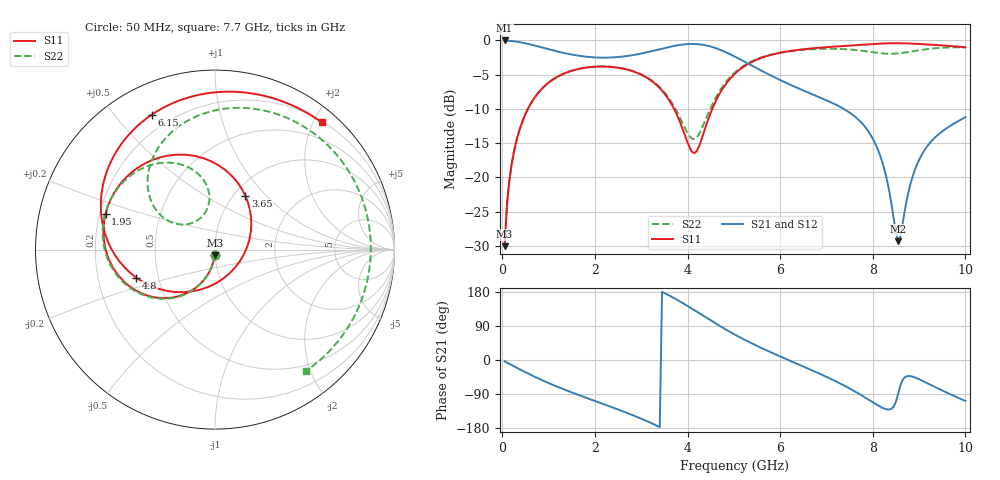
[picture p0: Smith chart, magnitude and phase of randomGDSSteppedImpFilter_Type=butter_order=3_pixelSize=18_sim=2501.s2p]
! freq	dB(S11)	phase(S11)	dB(S12)	phase(S12)
!  dB(S21)	phase(S21)	dB(S22)	phase(S22)
!S-par simulation data
#  GHz  S  DB  R 50
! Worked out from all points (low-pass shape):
!   200 points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, 50 MHz to 10 GHz, reference 50 ohm
!   highest |S21| = -0.01 dB at 50 MHz (marker M1); lowest = -29.3 dB at 8.55 GHz (marker M2)
!   |S21| within 3 dB of the highest: start of sweep to 5.204 GHz
!   lowest |S11| = -30.1 dB at 50 MHz (marker M3), VSWR 1.06, Z = 49.7 - j3.12 ohm
!   |S11| at or under -10 dB: start of sweep to 553.2 MHz; 3.708 GHz to 4.535 GHz (826.4 MHz wide, 20.1 % of centre)
!   |S22| runs from -30.1 to -1.0 dB; largest |S21 - S12| = 0
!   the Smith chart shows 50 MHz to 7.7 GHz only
!   S11 on the Smith chart (normalised r, x): 50 MHz: 0.99, -0.06; 1.95 GHz: 0.22, +0.15; 3.65 GHz: 1.13, +0.77; 4.8 GHz: 0.37, -0.15; 6.15 GHz: 0.13, +0.63; 7.7 GHz: 0.21, +2.13
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0.05  -30.05 -93.5  -0.01 -3.4  -0.01 -3.4  -30.05 -93.5
0.2  -18.16 -103.8  -0.09 -13.2  -0.09 -13.2  -18.16 -103.6
0.5  -10.75 -123.0  -0.43 -32.3  -0.43 -32.3  -10.75 -122.6
1.75  -4.03 171.3  -2.33 -97.0  -2.33 -97.0  -4.03 173.8
1.95  -3.86 162.1  -2.46 -105.9  -2.46 -105.9  -3.86 165.2
2.8  -4.46 120.9  -2.17 -144.7  -2.17 -144.7  -4.44 129.6
3.4  -6.97 82.9  -1.28 -177.1  -1.28 -177.1  -6.85 104.7
3.65  -9.27 60.5  -0.89 167.1  -0.89 167.1  -8.98 97.2
4.15  -16.47 -42.2  -0.52 131.3  -0.52 131.3  -14.42 124.2
4.8  -6.63 -160.5  -1.64 82.3  -1.64 82.3  -6.33 139.9
5.05  -4.70 178.8  -2.46 65.1  -2.46 65.1  -4.52 127.4
6.15  -1.62 115.2  -6.26 1.4  -6.26 1.4  -1.63 66.3
6.7  -1.16 90.6  -7.88 -27.8  -7.88 -27.8  -1.28 32.8
7.25  -0.87 67.9  -9.55 -59.2  -9.55 -59.2  -1.24 -8.1
7.7  -0.67 49.9  -11.64 -89.1  -11.64 -89.1  -1.46 -53.4
8.05  -0.51 35.9  -15.02 -115.3  -15.02 -115.3  -1.77 -101.5
8.35  -0.42 23.5  -21.80 -130.8  -21.80 -130.8  -1.95 -152.5
8.55  -0.41 15.1  -29.34 -88.3  -29.34 -88.3  -1.90 172.1
8.85  -0.47 2.8  -20.11 -43.6  -20.11 -43.6  -1.60 124.2
9.1  -0.56 -7.2  -16.22 -56.6  -16.22 -56.6  -1.34 91.7
9.55  -0.76 -24.9  -13.04 -83.5  -13.04 -83.5  -1.06 47.8
10  -1.02 -43.0  -11.21 -108.3  -11.21 -108.3  -1.01 15.0
